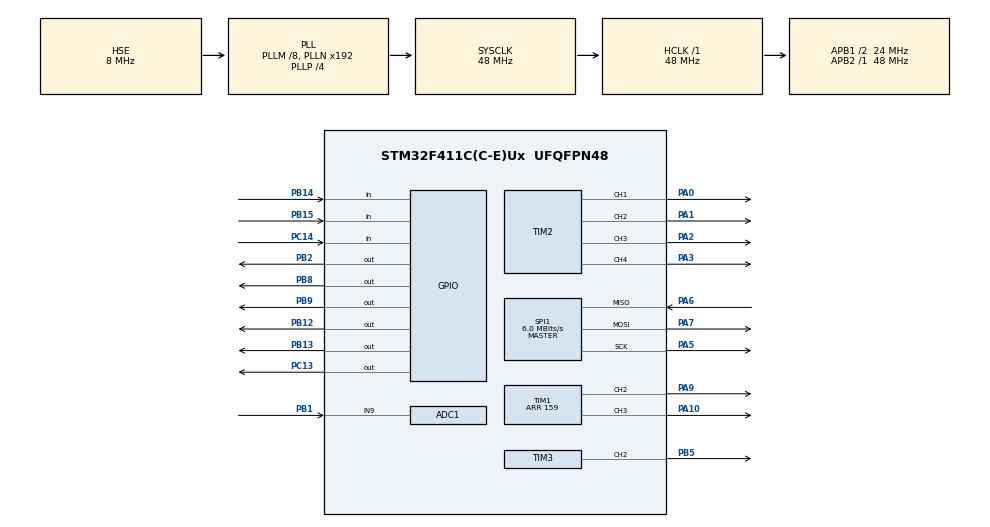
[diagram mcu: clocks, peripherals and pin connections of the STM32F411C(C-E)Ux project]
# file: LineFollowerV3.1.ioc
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ADC1.Channel-0\#ChannelRegularConversion=ADC_CHANNEL_9
ADC1.NbrOfConversionFlag=1
ADC1.Rank-0\#ChannelRegularConversion=1
ADC1.SamplingTime-0\#ChannelRegularConversion=ADC_SAMPLETIME_3CYCLES
ADC1.master=1
Dma.Request0=TIM1_CH2
Dma.Request1=TIM1_CH3
Dma.TIM1_CH2.0.Direction=DMA_MEMORY_TO_PERIPH
Dma.TIM1_CH2.0.FIFOMode=DMA_FIFOMODE_DISABLE
Dma.TIM1_CH2.0.Instance=DMA2_Stream2
Dma.TIM1_CH2.0.MemDataAlignment=DMA_MDATAALIGN_WORD
Dma.TIM1_CH2.0.MemInc=DMA_MINC_ENABLE
Dma.TIM1_CH2.0.Mode=DMA_CIRCULAR
Dma.TIM1_CH2.0.PeriphDataAlignment=DMA_PDATAALIGN_WORD
Dma.TIM1_CH2.0.PeriphInc=DMA_PINC_DISABLE
Dma.TIM1_CH2.0.Priority=DMA_PRIORITY_HIGH
Dma.TIM1_CH3.1.Direction=DMA_MEMORY_TO_PERIPH
Dma.TIM1_CH3.1.FIFOMode=DMA_FIFOMODE_DISABLE
Dma.TIM1_CH3.1.Instance=DMA2_Stream6
Dma.TIM1_CH3.1.MemDataAlignment=DMA_MDATAALIGN_WORD
Dma.TIM1_CH3.1.MemInc=DMA_MINC_ENABLE
Dma.TIM1_CH3.1.Mode=DMA_CIRCULAR
Dma.TIM1_CH3.1.PeriphDataAlignment=DMA_PDATAALIGN_WORD
Dma.TIM1_CH3.1.PeriphInc=DMA_PINC_DISABLE
Dma.TIM1_CH3.1.Priority=DMA_PRIORITY_HIGH
Mcu.Family=STM32F4
Mcu.Name=STM32F411C(C-E)Ux
Mcu.Package=UFQFPN48
NVIC.DMA2_Stream2_IRQn=true\:0\:0\:false\:false\:true\:false\:true\:true
NVIC.DMA2_Stream6_IRQn=true\:0\:0\:false\:false\:true\:false\:true\:true
NVIC.PriorityGroup=NVIC_PRIORITYGROUP_4
PA0-WKUP.Signal=S_TIM2_CH1_ETR
PA1.Signal=S_TIM2_CH2
PA10.GPIO_Speed=GPIO_SPEED_FREQ_VERY_HIGH
PA10.Signal=S_TIM1_CH3
PA13.Mode=Trace_Asynchronous_SW
PA13.Signal=SYS_JTMS-SWDIO
PA14.Mode=Trace_Asynchronous_SW
PA14.Signal=SYS_JTCK-SWCLK
PA2.Signal=S_TIM2_CH3
PA3.Signal=S_TIM2_CH4
PA5.Mode=Full_Duplex_Master
PA5.Signal=SPI1_SCK
PA6.Mode=Full_Duplex_Master
PA6.Signal=SPI1_MISO
PA7.Mode=Full_Duplex_Master
PA7.Signal=SPI1_MOSI
PA9.GPIO_Speed=GPIO_SPEED_FREQ_VERY_HIGH
PA9.Signal=S_TIM1_CH2
PB1.Signal=ADCx_IN9
PB12.GPIO_PuPd=GPIO_PULLUP
PB12.GPIO_Speed=GPIO_SPEED_FREQ_HIGH
PB12.PinState=GPIO_PIN_SET
PB12.Signal=GPIO_Output
PB13.GPIO_PuPd=GPIO_PULLUP
PB13.GPIO_Speed=GPIO_SPEED_FREQ_HIGH
PB13.PinState=GPIO_PIN_SET
PB13.Signal=GPIO_Output
PB14.Signal=GPIO_Input
PB15.Signal=GPIO_Input
PB2.Signal=GPIO_Output
PB3.Mode=Trace_Asynchronous_SW
PB3.Signal=SYS_JTDO-SWO
PB5.Signal=S_TIM3_CH2
PB8.Signal=GPIO_Output
PB9.Signal=GPIO_Output
PC13-ANTI_TAMP.Signal=GPIO_Output
PC14-OSC32_IN.Signal=GPIO_Input
PH0\ -\ OSC_IN.Mode=HSE-External-Oscillator
PH0\ -\ OSC_IN.Signal=RCC_OSC_IN
PH1\ -\ OSC_OUT.Mode=HSE-External-Oscillator
PH1\ -\ OSC_OUT.Signal=RCC_OSC_OUT
ProjectManager.HeapSize=0x200
ProjectManager.StackSize=0x400
ProjectManager.TargetToolchain=STM32CubeIDE
RCC.48MHZClocksFreq_Value=48000000
RCC.AHBFreq_Value=48000000
RCC.APB1CLKDivider=RCC_HCLK_DIV2
RCC.APB1Freq_Value=24000000
RCC.APB1TimFreq_Value=48000000
RCC.APB2Freq_Value=48000000
RCC.APB2TimFreq_Value=48000000
RCC.CortexFreq_Value=48000000
RCC.HCLKFreq_Value=48000000
RCC.HSE_VALUE=8000000
RCC.HSI_VALUE=16000000
RCC.LSE_VALUE=32768
RCC.PLLM=8
RCC.PLLP=RCC_PLLP_DIV4
RCC.PLLSourceVirtual=RCC_PLLSOURCE_HSE
RCC.SYSCLKFreq_VALUE=48000000
RCC.SYSCLKSource=RCC_SYSCLKSOURCE_PLLCLK
RCC.VCOOutputFreq_Value=192000000
SH.ADCx_IN9.0=ADC1_IN9,IN9
SH.S_TIM1_CH2.0=TIM1_CH2,PWM Generation2 CH2
SH.S_TIM1_CH3.0=TIM1_CH3,PWM Generation3 CH3
SH.S_TIM2_CH1_ETR.0=TIM2_CH1,PWM Generation1 CH1
SH.S_TIM2_CH2.0=TIM2_CH2,PWM Generation2 CH2
SH.S_TIM2_CH3.0=TIM2_CH3,PWM Generation3 CH3
SH.S_TIM2_CH4.0=TIM2_CH4,PWM Generation4 CH4
SH.S_TIM3_CH2.0=TIM3_CH2,PWM Generation2 CH2
SPI1.BaudRatePrescaler=SPI_BAUDRATEPRESCALER_8
SPI1.CLKPhase=SPI_PHASE_2EDGE
SPI1.CLKPolarity=SPI_POLARITY_HIGH
SPI1.CalculateBaudRate=6.0 MBits/s
SPI1.Direction=SPI_DIRECTION_2LINES
SPI1.Mode=SPI_MODE_MASTER
SPI1.VirtualType=VM_MASTER
TIM1.AutoReloadPreload=TIM_AUTORELOAD_PRELOAD_ENABLE
TIM1.Channel-PWM\ Generation2\ CH2=TIM_CHANNEL_2
TIM1.Channel-PWM\ Generation3\ CH3=TIM_CHANNEL_3
TIM1.Period=159
TIM2.Channel-PWM\ Generation1\ CH1=TIM_CHANNEL_1
TIM2.Channel-PWM\ Generation2\ CH2=TIM_CHANNEL_2
TIM2.Channel-PWM\ Generation3\ CH3=TIM_CHANNEL_3
TIM2.Channel-PWM\ Generation4\ CH4=TIM_CHANNEL_4
TIM3.Channel-PWM\ Generation2\ CH2=TIM_CHANNEL_2
TIM3.Period=2399
VP_TIM1_VS_ClockSourceINT.Mode=Internal
board=custom

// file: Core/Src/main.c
/* USER CODE BEGIN Header */
/**
  ******************************************************************************
  * @file           : main.c
  * @brief          : Main program body
  ******************************************************************************
  * @attention
  *
  * Copyright (c) 2026 STMicroelectronics.
  * All rights reserved.
  *
  * This software is licensed under terms that can be found in the LICENSE file
  * in the root directory of this software component.
  * If no LICENSE file comes with this software, it is provided AS-IS.
  *
  ******************************************************************************
  */
/* USER CODE END Header */
#include "main.h"
#include "adc.h"
#include "dma.h"
#include "spi.h"
#include "tim.h"
#include "gpio.h"

/* USER CODE BEGIN Includes */
#include "ir_sensor.h"
#include "motor.h"
#include "pid.h"
#include "brushless.h"
#include "bmi088.h"
#include <stdio.h>
#include <stdlib.h>
/* USER CODE END Includes */

/* USER CODE BEGIN PTD */
typedef enum {
    STATE_STANDBY,
    STATE_CALIBRATING,
    STATE_READY,
    STATE_PRE_START_DELAY,
    STATE_FAN_SPINUP,
    STATE_RUNNING,
    STATE_MAPPING,
    STATE_FAST_RUN
} RobotState;
/* USER CODE END PTD */

/* USER CODE BEGIN PD */
/* --- MICROMOUSE-INSPIRED SPEED SETTINGS --- */
#define NOMINAL_SPD     850
#define BOOST_SPD       1000
#define MAX_SPD         1000
#define FAN_SPD         650
#define MAP_BASE_SPD    200
#define MAP_FAN_SPD     0
#define FAST_FAN_SPD    600

// Smooth Mapping PID (Lazy tuning for clean data)
#define MAP_KP          0.045f
#define MAP_KI          0.00f
#define MAP_KD          1.20f

// Retuned for Extreme Speed: Higher KD to handle the momentum
#define KP              0.115f
#define KI              0.00f
#define KD              2.95f

#define RUN_DURATION_MS 4000

#define CALIB_DURATION_MS 3000
#define DOUBLE_CLICK_MS   500

#define MAPPING_DURATION_MS  10000
#define FAST_RUN_DURATION_MS 3500
/* USER CODE END PD */

/* USER CODE BEGIN PV */
PID_Config pid;
uint16_t sensors[8];
uint32_t run_start_time = 0;
int8_t last_side = 0;
RobotState current_state = STATE_STANDBY;

// Button logic
uint32_t last_btn_press_time = 0;
uint8_t btn_press_count = 0;

// Micromouse-inspired logic variables
uint32_t centered_start_time = 0;
int16_t last_line_pos = 0;

// Track Mapping Buffer (30 seconds at 10ms = 3000 bytes)
uint8_t map_buffer[3000];
uint32_t map_index = 0;
uint32_t map_max_index = 0;
uint32_t last_map_tick = 0;
uint32_t lost_start_tick = 0;
/* USER CODE END PV */

void SystemClock_Config(void);

int main(void)
{

  /* MCU Configuration--------------------------------------------------------*/

  /* Reset of all peripherals, Initializes the Flash interface and the Systick. */
  HAL_Init();

  /* Configure the system clock */
  SystemClock_Config();

  /* Initialize all configured peripherals */
  MX_GPIO_Init();
  MX_DMA_Init();
  MX_ADC1_Init();
  MX_TIM2_Init();
  MX_SPI1_Init();
  MX_TIM1_Init();
  MX_TIM3_Init();
  /* USER CODE BEGIN 2 */
    IR_Init();
    Motor_Init();
    Brushless_Init();
    BMI088_Init();
    PID_Init(&pid, KP, KI, KD, NOMINAL_SPD, MAX_SPD);

    Motor_Stop();
    Brushless_SetSpeed(0, 0);

    uint32_t state_start_time = 0;
    uint32_t last_print = 0;
  /* USER CODE END 2 */

  /* Infinite loop */
  while (1)
  {

    /* USER CODE BEGIN 3 */
        IR_ReadAll(sensors);
        int16_t pos = IR_GetLinePosition();
        uint8_t count = IR_GetActiveCount();

        // Categorize and Print raw values to SWO every 500ms
        if (HAL_GetTick() - last_print > 500) {
            const char* zone = "LOST";
            if (pos != -9999) {
                int16_t abs_pos = (pos >= 0) ? pos : -pos;
                if (abs_pos < 500) zone = "CENTER";
                else if (abs_pos < 2000) zone = (pos > 0) ? "MID-LEFT" : "MID-RIGHT";
                else if (abs_pos < 4500) zone = (pos > 0) ? "NORM-LEFT" : "NORM-RIGHT";
                else zone = (pos > 0) ? "HARD-LEFT" : "HARD-RIGHT";
            }
            printf("[%s] Pos: %5d | State: %d | Run: 750\r\n", zone, pos, current_state);
            last_print = HAL_GetTick();
        }

        switch (current_state) {
            case STATE_STANDBY:
                HAL_GPIO_WritePin(GPIOC, GPIO_PIN_13, (HAL_GetTick() / 1000) % 2); // Slow blink
                if (HAL_GPIO_ReadPin(GPIOC, GPIO_PIN_14) == GPIO_PIN_SET) {
                    HAL_Delay(200); // Debounce
                    IR_StartCalibration();
                    state_start_time = HAL_GetTick();
                    current_state = STATE_CALIBRATING;
                }
                break;

            case STATE_CALIBRATING:
                HAL_GPIO_WritePin(GPIOC, GPIO_PIN_13, (HAL_GetTick() / 200) % 2); // Fast blink (200ms)
                IR_UpdateCalibration();
                if (HAL_GetTick() - state_start_time >= CALIB_DURATION_MS) {
                    IR_FinishCalibration();
                    HAL_GPIO_WritePin(GPIOC, GPIO_PIN_13, GPIO_PIN_RESET); // LED ON
                    current_state = STATE_READY;
                    btn_press_count = 0;
                }
                break;

            case STATE_READY:
                HAL_GPIO_WritePin(GPIOC, GPIO_PIN_13, GPIO_PIN_RESET); // LED ON

                // Button Click Detection
                if (HAL_GPIO_ReadPin(GPIOC, GPIO_PIN_14) == GPIO_PIN_SET) {
                    HAL_Delay(100); // Debounce
                    uint32_t now = HAL_GetTick();
                    if (now - last_btn_press_time < DOUBLE_CLICK_MS) {
                        btn_press_count++;
                    } else {
                        btn_press_count = 1;
                    }
                    last_btn_press_time = now;
                    while(HAL_GPIO_ReadPin(GPIOC, GPIO_PIN_14) == GPIO_PIN_SET); // Wait for release
                }

                // Start sequence after a short delay to allow for multiple clicks
                if (btn_press_count > 0 && (HAL_GetTick() - last_btn_press_time > DOUBLE_CLICK_MS)) {
                    state_start_time = HAL_GetTick();
                    current_state = STATE_PRE_START_DELAY;
                }
                break;

            case STATE_PRE_START_DELAY:
                HAL_GPIO_WritePin(GPIOC, GPIO_PIN_13, GPIO_PIN_SET); // LED OFF
                if (HAL_GetTick() - state_start_time >= 2000) {
                    uint16_t current_fan = FAN_SPD;
                    if (btn_press_count == 2) current_fan = MAP_FAN_SPD;
                    else if (btn_press_count >= 3) current_fan = FAST_FAN_SPD;

                    Brushless_SetSpeed(current_fan, current_fan);
                    state_start_time = HAL_GetTick();
                    current_state = STATE_FAN_SPINUP;
                }
                break;

            case STATE_FAN_SPINUP:
                HAL_GPIO_WritePin(GPIOC, GPIO_PIN_13, (HAL_GetTick() / 100) % 2);
                if (HAL_GetTick() - state_start_time >= 3000) {
                    state_start_time = HAL_GetTick();
                    if (btn_press_count == 1) current_state = STATE_RUNNING;
                    else if (btn_press_count == 2) {
                        current_state = STATE_MAPPING;
                        map_index = 0;
                        last_map_tick = HAL_GetTick();
                    }
                    else if (btn_press_count >= 3) current_state = STATE_FAST_RUN;
                }
                break;

            case STATE_RUNNING:
                HAL_GPIO_WritePin(GPIOC, GPIO_PIN_13, GPIO_PIN_RESET);

                // Restore aggressive PID for racing
                pid.Kp = KP;
                pid.Ki = KI;
                pid.Kd = KD;

                if (HAL_GetTick() - state_start_time >= RUN_DURATION_MS) {
                    Motor_Stop();
                    Brushless_SetSpeed(0, 0);
                    current_state = STATE_STANDBY;
                    HAL_Delay(1000);
                } else {
                    // --- IMU ASSISTANCE ---
                    float gx, gy, gz, ax, ay, az;
                    BMI088_ReadGyro(&gx, &gy, &gz);
                    BMI088_ReadAccel(&ax, &ay, &az);

                    if (pos == -9999) {
                        // Corrected recovery: spin towards last seen side
                        if (last_side == 1) { Motor_Left(-500); Motor_Right(850); }
                        else if (last_side == -1) { Motor_Left(850); Motor_Right(-500); }
                        else { Motor_Left(350); Motor_Right(350); }
                    } else {
                        // Updated for faster side detection (2000 threshold)
                        if (pos > 2000) last_side = 1;      // LEFT
                        else if (pos < -2000) last_side = -1; // RIGHT

                        // --- MICROMOUSE VELOCITY PROFILING ---
                        int16_t current_base = NOMINAL_SPD;

                        // 1. Straight-Line Boost
                        if (abs(pos) < 500) {
                            if (centered_start_time == 0) centered_start_time = HAL_GetTick();
                            uint32_t centered_dur = HAL_GetTick() - centered_start_time;
                            if (centered_dur > 150) {
                                // Ramp from NOMINAL to BOOST over 300ms
                                int16_t ramp = (int16_t)((centered_dur - 150) * (BOOST_SPD - NOMINAL_SPD) / 300);
                                current_base = NOMINAL_SPD + ramp;
                                if (current_base > BOOST_SPD) current_base = BOOST_SPD;
                            }
                        } else {
                            centered_start_time = 0;
                            current_base = NOMINAL_SPD;
                        }

                        // 2. Predictive Rate Braking (Lookahead)
                        int16_t pos_delta = abs(pos - last_line_pos);
                        if (pos_delta > 800) { // Line is moving fast!
                            int16_t predictive_brake = (pos_delta - 800) * 1.2f;
                            current_base -= predictive_brake;
                        }
                        last_line_pos = pos;

                        // 3. IR-based scaling (fallback/safety)
                        if (abs(pos) > 3500) {
                            current_base -= 200;
                        }

                        // 4. IMU-based Yaw Rate Braking
                        float abs_yaw = (gz > 0) ? gz : -gz;
                        if (abs_yaw > 300.0f) {
                            int16_t yaw_reduction = (int16_t)((abs_yaw - 300.0f) * 0.8f);
                            current_base -= yaw_reduction;
                        }

                        if (current_base < 350) current_base = 350;
                        pid.base_speed = current_base;

                        int16_t l, r;
                        PID_Compute(&pid, pos, &l, &r);
                        Motor_Left(l);
                        Motor_Right(r);
                    }
                }
                break;

            case STATE_MAPPING:
                HAL_GPIO_WritePin(GPIOC, GPIO_PIN_13, (HAL_GetTick() / 50) % 2); // Super fast blink

                if (HAL_GetTick() - state_start_time >= MAPPING_DURATION_MS || pos == -9999) {
                    if (pos == -9999) {
                        if (lost_start_tick == 0) lost_start_tick = HAL_GetTick();
                        if (HAL_GetTick() - lost_start_tick < 200) goto mapping_active;
                    }
                    // End mapping
                    map_max_index = map_index;
                    Motor_Stop();
                    Brushless_SetSpeed(0, 0);
                    current_state = STATE_STANDBY;
                    printf("MAPPING DONE. Total Frames: %lu\r\n", map_max_index);
                    HAL_Delay(1000);
                    break;
                } else {
                    lost_start_tick = 0;
                }

            mapping_active:
                // Smooth PID for stable mapping
                pid.Kp = MAP_KP;
                pid.Ki = MAP_KI;
                pid.Kd = MAP_KD;
                pid.base_speed = MAP_BASE_SPD;

                int16_t l_map, r_map;
                PID_Compute(&pid, pos, &l_map, &r_map);
                Motor_Left(l_map);
                Motor_Right(r_map);

                // Record data every 10ms
                if (HAL_GetTick() - last_map_tick >= 10) {
                    if (map_index < 3000) {
                        map_buffer[map_index++] = (uint8_t)(abs(pos) / 28);
                    }
                    last_map_tick = HAL_GetTick();
                }
                break;

            case STATE_FAST_RUN:
                HAL_GPIO_WritePin(GPIOC, GPIO_PIN_13, GPIO_PIN_RESET); // LED ON

                // Restore aggressive PID for racing
                pid.Kp = KP;
                pid.Ki = KI;
                pid.Kd = KD;

                if (HAL_GetTick() - state_start_time >= FAST_RUN_DURATION_MS) {
                    Motor_Stop();
                    Brushless_SetSpeed(0, 0);
                    current_state = STATE_STANDBY;
                    HAL_Delay(1000);
                    break;
                }

                if (pos == -9999) {
                    if (last_side == 1) { Motor_Left(-500); Motor_Right(850); }
                    else if (last_side == -1) { Motor_Left(850); Motor_Right(-500); }
                    else { Motor_Left(350); Motor_Right(350); }
                } else {
                    if (pos > 2000) last_side = 1;
                    else if (pos < -2000) last_side = -1;

                    // --- MAP-ASSISTED SPEED CONTROL ---
                    int16_t current_base = NOMINAL_SPD;

                    // Estimate current map index based on time and speed ratio
                    // (Note: This is an approximation since we don't have encoders)
                    uint32_t elapsed = HAL_GetTick() - state_start_time;
                    float speed_ratio = (float)NOMINAL_SPD / (float)MAP_BASE_SPD;
                    uint32_t estimated_index = (uint32_t)((float)elapsed / 10.0f * speed_ratio);

                    // Lookahead: 150ms ahead (15 frames)
                    uint32_t lookahead_idx = estimated_index + 15;

                    if (lookahead_idx < map_max_index) {
                        uint8_t future_curve = map_buffer[lookahead_idx];
                        if (future_curve > 80) { // Equivalent to abs(pos) > 2240
                            current_base = 500; // Predictive Braking
                        } else if (future_curve < 20) { // Straightaway
                            current_base = BOOST_SPD;
                        }
                    }

                    // IMU Safety (Always Active)
                    float gx, gy, gz, ax, ay, az;
                    BMI088_ReadGyro(&gx, &gy, &gz);
                    float abs_yaw = (gz > 0) ? gz : -gz;
                    if (abs_yaw > 300.0f) {
                        current_base -= (int16_t)((abs_yaw - 300.0f) * 0.8f);
                    }

                    if (current_base < 350) current_base = 350;
                    pid.base_speed = current_base;

                    int16_t l_fast, r_fast;
                    PID_Compute(&pid, pos, &l_fast, &r_fast);
                    Motor_Left(l_fast);
                    Motor_Right(r_fast);
                }
                break;
        }
        HAL_Delay(5);
  }
  /* USER CODE END 3 */
}

void SystemClock_Config(void)
{
  RCC_OscInitTypeDef RCC_OscInitStruct = {0};
  RCC_ClkInitTypeDef RCC_ClkInitStruct = {0};

  /** Configure the main internal regulator output voltage
  */
  __HAL_RCC_PWR_CLK_ENABLE();
  __HAL_PWR_VOLTAGESCALING_CONFIG(PWR_REGULATOR_VOLTAGE_SCALE1);

  /** Initializes the RCC Oscillators according to the specified parameters
  * in the RCC_OscInitTypeDef structure.
  */
  RCC_OscInitStruct.OscillatorType = RCC_OSCILLATORTYPE_HSE;
  RCC_OscInitStruct.HSEState = RCC_HSE_ON;
  RCC_OscInitStruct.PLL.PLLState = RCC_PLL_ON;
  RCC_OscInitStruct.PLL.PLLSource = RCC_PLLSOURCE_HSE;
  RCC_OscInitStruct.PLL.PLLM = 8;
  RCC_OscInitStruct.PLL.PLLN = 192;
  RCC_OscInitStruct.PLL.PLLP = RCC_PLLP_DIV4;
  RCC_OscInitStruct.PLL.PLLQ = 4;
  if (HAL_RCC_OscConfig(&RCC_OscInitStruct) != HAL_OK)
  {
    Error_Handler();
  }

  /** Initializes the CPU, AHB and APB buses clocks
  */
  RCC_ClkInitStruct.ClockType = RCC_CLOCKTYPE_HCLK|RCC_CLOCKTYPE_SYSCLK
                              |RCC_CLOCKTYPE_PCLK1|RCC_CLOCKTYPE_PCLK2;
  RCC_ClkInitStruct.SYSCLKSource = RCC_SYSCLKSOURCE_PLLCLK;
  RCC_ClkInitStruct.AHBCLKDivider = RCC_SYSCLK_DIV1;
  RCC_ClkInitStruct.APB1CLKDivider = RCC_HCLK_DIV2;
  RCC_ClkInitStruct.APB2CLKDivider = RCC_HCLK_DIV1;

  if (HAL_RCC_ClockConfig(&RCC_ClkInitStruct, FLASH_LATENCY_1) != HAL_OK)
  {
    Error_Handler();
  }
}

/* USER CODE BEGIN 4 */
/* --- SWO PRINTF REDIRECTION --- */
int __io_putchar(int ch) {
    ITM_SendChar(ch);
    return ch;
}
/* USER CODE END 4 */

void Error_Handler(void)
{
  __disable_irq();
  while (1)
  {
  }
}
